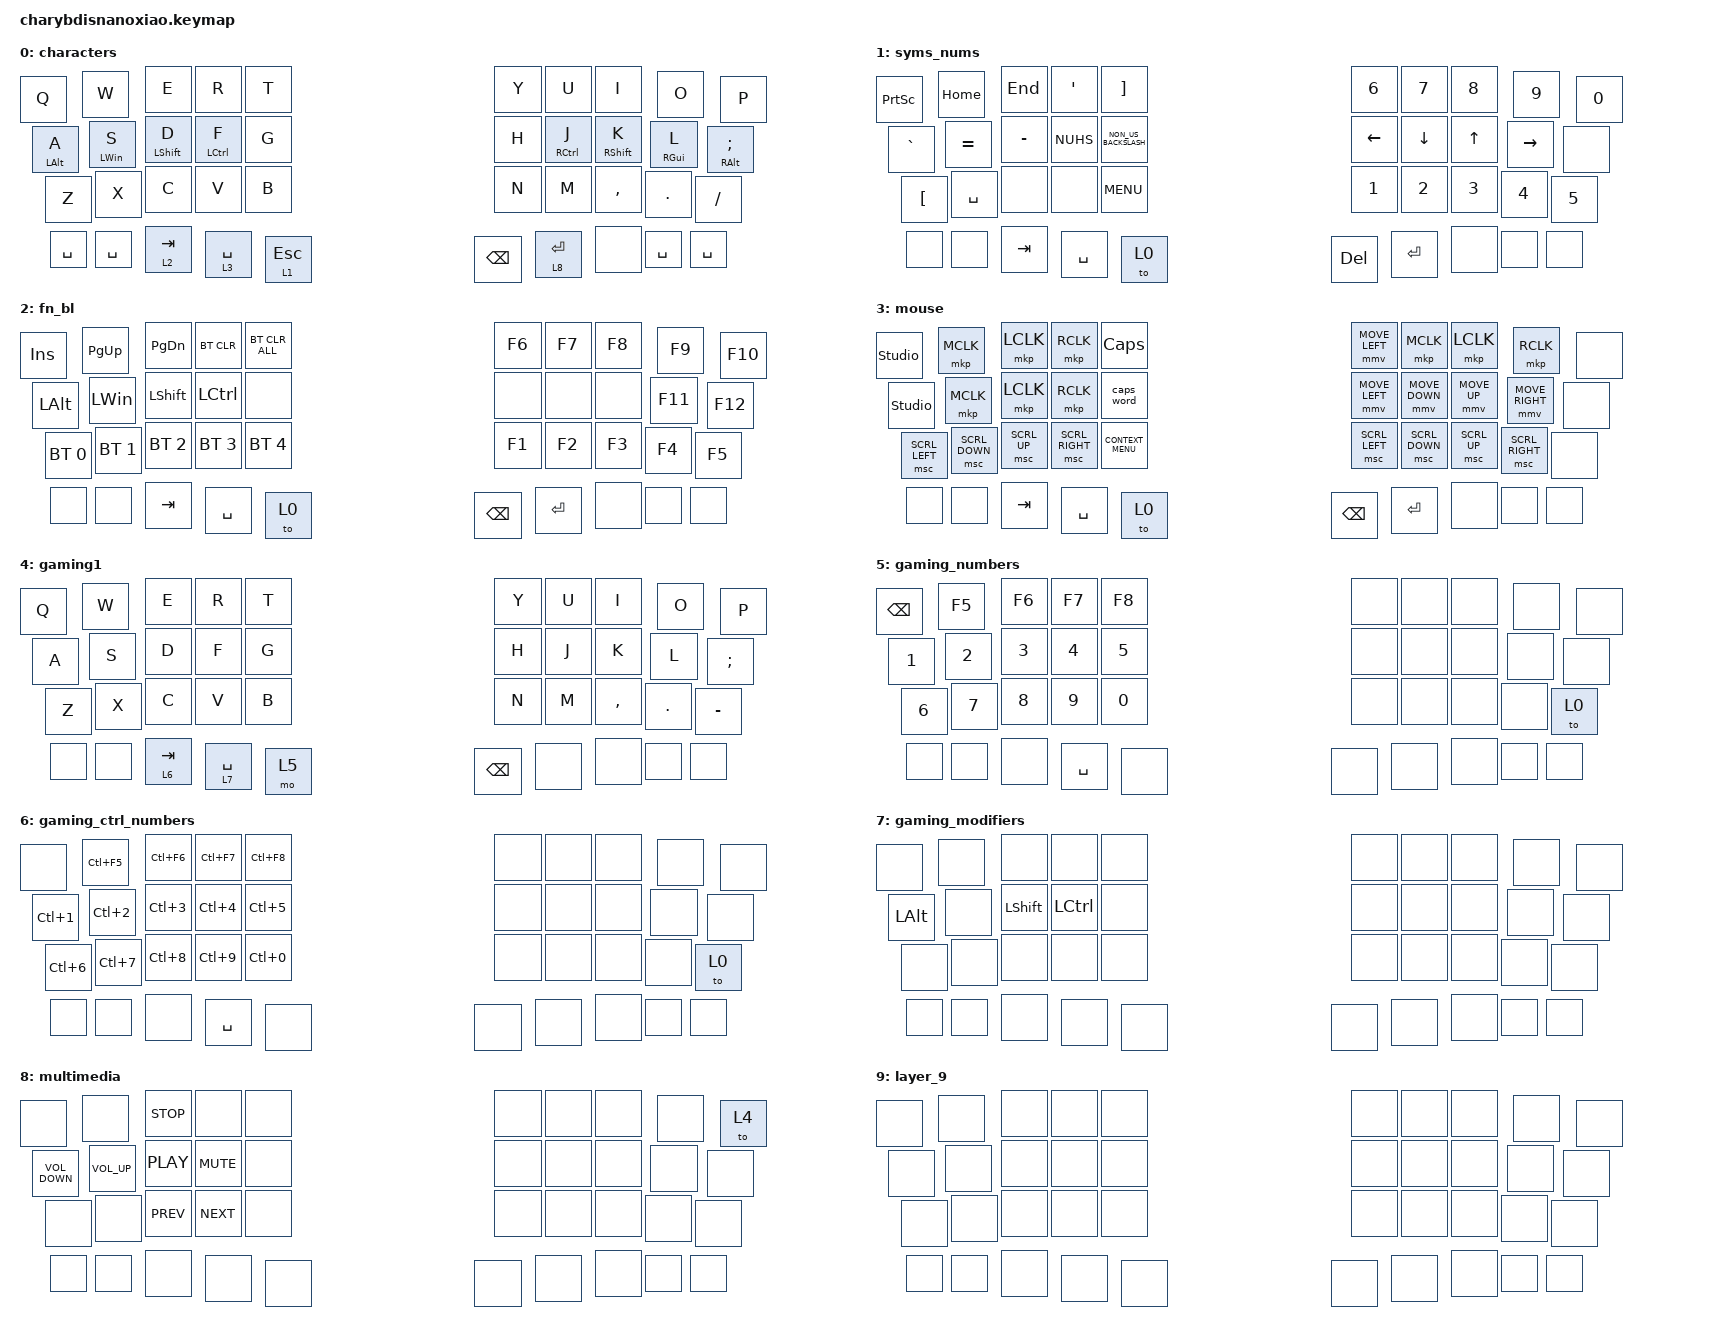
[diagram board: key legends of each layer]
/*
 * Copyright (c) 2020 The ZMK Contributors
 * 
 * SPDX-License-Identifier: MIT
 */

#define ZMK_POINTING_DEFAULT_MOVE_VAL 800  // default: 600
#define ZMK_POINTING_DEFAULT_SCRL_VAL 16    // default: 20

#include <input/processors.dtsi>
#include <zephyr/dt-bindings/input/input-event-codes.h>
#include <input/processors.dtsi>
#include <dt-bindings/zmk/input_transform.h>
#include <behaviors.dtsi>
#include <dt-bindings/zmk/bt.h>
#include <dt-bindings/zmk/keys.h>
#include <dt-bindings/zmk/pointing.h>

&mmv { acceleration-exponent = <0>; };

/ {
    mouse0_input_listener {
        status = "okay";
        input-processors = <&zip_xy_scaler 1 1>;

        scroller {
            layers = <1 3>;
            input-processors =
                <&zip_xy_to_scroll_mapper>,
                <&zip_scroll_scaler 2 5>,
                <&zip_xy_transform (INPUT_TRANSFORM_Y_INVERT)>;
        };
    };

    behaviors {
        ec_s: mouse_scroll {
            compatible = "zmk,behavior-input-two-axis";
            #binding-cells = <1>;
            trigger-period-ms = <12>; // slow down for OTA, default is 3ms
            x-input-code = <INPUT_REL_HWHEEL>;
            y-input-code = <INPUT_REL_WHEEL>;
            time-to-max-speed-ms = <177>;
            acceleration-exponent = <0>;
        };

        hm: homerow_mods {
            compatible = "zmk,behavior-hold-tap";
            #binding-cells = <2>;
            tapping-term-ms = <150>;
            flavor = "tap-preferred";
            require-prior-idle-ms = <125>;
            bindings = <&kp>, <&kp>;
        };
    };

    combos {
        compatible = "zmk,combos";

        go_to_gaming {
            bindings = <&to 4>;
            key-positions = <16>;
            layers = <2>;
        };
    };

    keymap {
        compatible = "zmk,keymap";

        characters {
            bindings = <
  &kp Q           &kp W           &kp E             &kp R        &kp T         &kp Y          &kp U        &kp I              &kp O            &kp P
  &hm LEFT_ALT A  &hm LEFT_WIN S  &hm LEFT_SHIFT D  &hm LCTRL F  &kp G         &kp H          &hm RCTRL J  &hm RIGHT_SHIFT K  &hm RIGHT_GUI L  &hm RIGHT_ALT SEMI
  &kp Z           &kp X           &kp C             &kp V        &kp B         &kp N          &kp M        &kp COMMA          &kp DOT          &kp SLASH
  &kp SPACE       &kp SPACE       &lt 2 TAB         &lt 3 SPACE  &lt 1 ESCAPE  &kp BACKSPACE  &lt 8 ENTER  &none              &kp SPACE        &kp SPACE
            >;
        };

        syms_nums {
            bindings = <
  &kp PRINTSCREEN   &kp HOME   &kp END    &kp APOS   &kp RBKT              &kp N6      &kp N7     &kp N8  &kp N9     &kp N0
  &kp GRAVE         &kp EQUAL  &kp MINUS  &kp NUHS   &kp NON_US_BACKSLASH  &kp LEFT    &kp DOWN   &kp UP  &kp RIGHT  &none
  &kp LEFT_BRACKET  &kp SPACE  &none      &none      &kp K_MENU            &kp N1      &kp N2     &kp N3  &kp N4     &kp N5
  &none             &none      &kp TAB    &kp SPACE  &to 0                 &kp DELETE  &kp ENTER  &none   &none      &none
            >;
        };

        fn_bl {
            bindings = <
  &kp INSERT    &kp PG_UP     &kp PG_DN       &bt BT_CLR        &bt BT_CLR_ALL  &kp F6         &kp F7     &kp F8  &kp F9   &kp F10
  &kp LEFT_ALT  &kp LEFT_WIN  &kp LEFT_SHIFT  &kp LEFT_CONTROL  &none           &none          &none      &none   &kp F11  &kp F12
  &bt BT_SEL 0  &bt BT_SEL 1  &bt BT_SEL 2    &bt BT_SEL 3      &bt BT_SEL 4    &kp F1         &kp F2     &kp F3  &kp F4   &kp F5
  &none         &none         &kp TAB         &kp SPACE         &to 0           &kp BACKSPACE  &kp ENTER  &none   &none    &none
            >;
        };

        mouse {
            bindings = <
  &studio_unlock  &mkp MCLK       &mkp LCLK     &mkp RCLK        &kp CAPS            &mmv MOVE_LEFT  &mkp MCLK       &mkp LCLK     &mkp RCLK        &none
  &studio_unlock  &mkp MCLK       &mkp LCLK     &mkp RCLK        &caps_word          &mmv MOVE_LEFT  &mmv MOVE_DOWN  &mmv MOVE_UP  &mmv MOVE_RIGHT  &none
  &msc SCRL_LEFT  &msc SCRL_DOWN  &msc SCRL_UP  &msc SCRL_RIGHT  &kp K_CONTEXT_MENU  &msc SCRL_LEFT  &msc SCRL_DOWN  &msc SCRL_UP  &msc SCRL_RIGHT  &none
  &none           &none           &kp TAB       &kp SPACE        &to 0               &kp BACKSPACE   &kp ENTER       &none         &none            &none
            >;
        };

        gaming1 {
            bindings = <
  &kp Q  &kp W  &kp E      &kp R        &kp T  &kp Y          &kp U  &kp I      &kp O       &kp P
  &kp A  &kp S  &kp D      &kp F        &kp G  &kp H          &kp J  &kp K      &kp L       &kp SEMICOLON
  &kp Z  &kp X  &kp C      &kp V        &kp B  &kp N          &kp M  &kp COMMA  &kp PERIOD  &kp MINUS
  &none  &none  &lt 6 TAB  &lt 7 SPACE  &mo 5  &kp BACKSPACE  &none  &none      &none       &none
            >;
        };

        gaming_numbers {
            bindings = <
  &kp BACKSPACE  &kp F5        &kp F6        &kp F7        &kp F8  &none  &none  &none  &none  &none
  &kp NUMBER_1   &kp NUMBER_2  &kp NUMBER_3  &kp NUMBER_4  &kp N5  &none  &none  &none  &none  &none
  &kp NUMBER_6   &kp N7        &kp N8        &kp N9        &kp N0  &none  &none  &none  &none  &to 0
  &none          &none         &none         &kp SPACE     &none   &none  &none  &none  &none  &none
            >;
        };

        gaming_ctrl_numbers {
            bindings = <
  &none             &kp LC(F5)        &kp LC(F6)        &kp LC(F7)        &kp LC(F8)  &none  &none  &none  &none  &none
  &kp LC(NUMBER_1)  &kp LC(NUMBER_2)  &kp LC(NUMBER_3)  &kp LC(NUMBER_4)  &kp LC(N5)  &none  &none  &none  &none  &none
  &kp LC(NUMBER_6)  &kp LC(N7)        &kp LC(N8)        &kp LC(N9)        &kp LC(N0)  &none  &none  &none  &none  &to 0
  &none             &none             &none             &kp SPACE         &none       &none  &none  &none  &none  &none
            >;
        };

        gaming_modifiers {
            bindings = <
  &none         &none  &none           &none      &none  &none  &none  &none  &none  &none
  &kp LEFT_ALT  &none  &kp LEFT_SHIFT  &kp LCTRL  &none  &none  &none  &none  &none  &none
  &none         &none  &none           &none      &none  &none  &none  &none  &none  &none
  &none         &none  &none           &none      &none  &none  &none  &none  &none  &none
            >;
        };

        multimedia {
            bindings = <
  &none              &none            &kp C_STOP  &none       &none  &none  &none  &none  &none  &to 4
  &kp C_VOLUME_DOWN  &kp C_VOLUME_UP  &kp C_PLAY  &kp C_MUTE  &none  &none  &none  &none  &none  &none
  &none              &none            &kp C_PREV  &kp C_NEXT  &none  &none  &none  &none  &none  &none
  &none              &none            &none       &none       &none  &none  &none  &none  &none  &none
            >;
        };

        layer_9 {
            bindings = <
  &none  &none  &none  &none  &none  &none  &none  &none  &none  &none
  &none  &none  &none  &none  &none  &none  &none  &none  &none  &none
  &none  &none  &none  &none  &none  &none  &none  &none  &none  &none
  &none  &none  &none  &none  &none  &none  &none  &none  &none  &none
            >;
        };
    };
};
